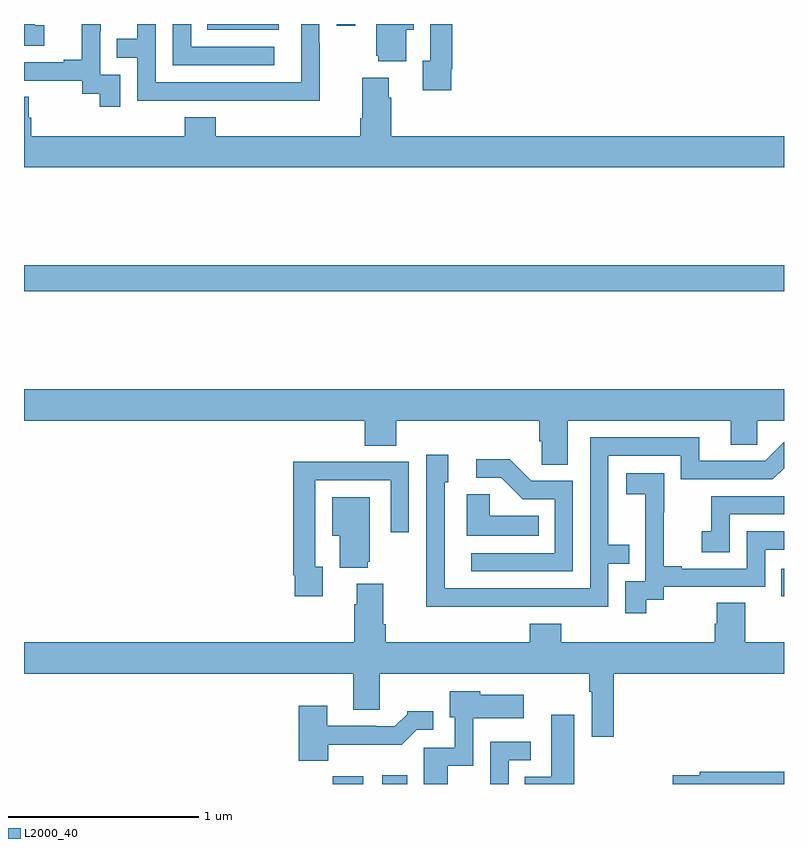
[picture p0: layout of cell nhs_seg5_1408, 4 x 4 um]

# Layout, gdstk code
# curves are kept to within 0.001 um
import gdstk
lib = gdstk.Library(unit=1e-6, precision=1e-09)
def R(c, l, rs):  # rectangles x0, y0, x1, y1
    for r in rs: c.add(gdstk.rectangle(r[:2], r[2:], *l))
def P(c, l, *ps):  # polygons
    for p in ps: c.add(gdstk.Polygon(p, *l))
L2000_40 = (2000, 40)

nhs_seg5_1408 = lib.new_cell('nhs_seg5_1408')
R(nhs_seg5_1408, L2000_40, [(196.624,902.799,196.786,902.839), (196.886,902.799,197.017,902.845), (198.985,903.786,199,903.933), (195,905.392,199,905.528), (195.964,906.77,196.342,906.799), (196.647,906.789,196.743,906.799)])
P(nhs_seg5_1408, L2000_40, [(197.011,906.77),(197.05,906.77),(197.05,906.799),(196.853,906.799),(196.853,906.633),(196.865,906.633),(196.865,906.602),(197.011,906.602)],
  [(195.106,906.793),(195.057,906.793),(195.057,906.799),(195,906.799),(195,906.684),(195.106,906.684)],
  [(195.507,906.531),(195.402,906.531),(195.402,906.761),(195.404,906.761),(195.404,906.799),(195.305,906.799),(195.305,906.61),(195.209,906.61),(195.209,906.597),(195,906.597),(195,906.501),(195.306,906.501),(195.306,906.433),(195.399,906.433),(195.399,906.363),(195.507,906.363)],
  [(196.557,906.701),(196.554,906.701),(196.554,906.799),(196.458,906.799),(196.458,906.492),(195.693,906.492),(195.693,906.799),(195.597,906.799),(195.597,906.722),(195.487,906.722),(195.487,906.621),(195.597,906.621),(195.597,906.396),(196.093,906.396),(196.093,906.395),(196.557,906.395)],
  [(197.248,906.562),(197.255,906.562),(197.255,906.799),(197.139,906.799),(197.139,906.606),(197.099,906.606),(197.099,906.45),(197.248,906.45)],
  [(196.318,906.678),(195.879,906.678),(195.879,906.799),(195.783,906.799),(195.783,906.582),(196.318,906.582)],
  [(199,906.208),(196.934,906.208),(196.934,906.41),(196.921,906.41),(196.921,906.517),(196.781,906.517),(196.781,906.304),(196.769,906.304),(196.769,906.208),(196.01,906.208),(196.01,906.307),(195.845,906.307),(195.845,906.208),(195.038,906.208),(195.038,906.306),(195.025,906.306),(195.025,906.416),(195,906.416),(195,906.044),(199,906.044)],
  [(197.863,904.712),(198.719,904.712),(198.719,904.585),(198.858,904.585),(198.858,904.712),(199,904.712),(199,904.876),(195,904.876),(195,904.712),(196.793,904.712),(196.793,904.579),(196.958,904.579),(196.958,904.712),(197.711,904.712),(197.711,904.603),(197.724,904.603),(197.724,904.48),(197.863,904.48)],
  [(197.579,903.732),(198.075,903.732),(198.075,903.957),(198.185,903.957),(198.185,904.058),(198.075,904.058),(198.075,904.527),(198.456,904.527),(198.456,904.404),(198.942,904.404),(199,904.462),(199,904.6),(198.9,904.5),(198.553,904.5),(198.553,904.623),(197.979,904.623),(197.979,903.828),(197.214,903.828),(197.214,904.386),(197.233,904.386),(197.233,904.531),(197.118,904.531),(197.118,904.037),(197.116,904.037),(197.116,903.731)],
  [(197.889,904.395),(197.67,904.395),(197.557,904.508),(197.379,904.508),(197.379,904.41),(197.513,904.41),(197.624,904.299),(197.793,904.299),(197.793,904.014),(197.355,904.014),(197.355,903.918),(197.889,903.918)],
  [(196.573,903.942),(196.533,903.942),(196.533,904.398),(196.929,904.398),(196.929,904.125),(197.025,904.125),(197.025,904.494),(196.709,904.494),(196.709,904.496),(196.417,904.496),(196.417,903.898),(196.425,903.898),(196.425,903.786),(196.573,903.786)],
  [(198.274,903.769),(198.366,903.769),(198.366,903.837),(198.9,903.837),(198.9,904.032),(199,904.032),(199,904.128),(198.804,904.128),(198.804,903.933),(198.463,903.933),(198.463,903.946),(198.368,903.946),(198.368,904.229),(198.369,904.229),(198.369,904.435),(198.171,904.435),(198.171,904.325),(198.269,904.325),(198.269,904.097),(198.27,904.097),(198.27,903.867),(198.165,903.867),(198.165,903.699),(198.274,903.699)],
  [(197.708,904.21),(197.451,904.21),(197.451,904.325),(197.33,904.325),(197.33,904.106),(197.708,904.106)],
  [(198.714,904.218),(199,904.218),(199,904.314),(198.616,904.314),(198.616,904.129),(198.567,904.129),(198.567,904.02),(198.714,904.02)],
  [(196.808,903.969),(196.819,903.969),(196.819,904.309),(196.622,904.309),(196.622,904.106),(196.661,904.106),(196.661,903.938),(196.808,903.938)],
  [(198.104,903.38),(199,903.38),(199,903.544),(198.795,903.544),(198.795,903.752),(198.647,903.752),(198.647,903.642),(198.635,903.642),(198.635,903.544),(197.828,903.544),(197.828,903.643),(197.663,903.643),(197.663,903.544),(196.904,903.544),(196.904,903.64),(196.891,903.64),(196.891,903.853),(196.751,903.853),(196.751,903.746),(196.739,903.746),(196.739,903.544),(195,903.544),(195,903.38),(196.733,903.38),(196.733,903.19),(196.873,903.19),(196.873,903.38),(197.976,903.38),(197.976,903.284),(197.988,903.284),(197.988,903.048),(198.104,903.048)],
  [(197.23,902.894),(197.364,902.894),(197.364,903.146),(197.629,903.146),(197.629,903.268),(197.4,903.268),(197.4,903.286),(197.24,903.286),(197.24,903.15),(197.268,903.15),(197.268,902.991),(197.105,902.991),(197.105,902.799),(197.23,902.799)],
  [(196.6,903.006),(196.989,903.006),(197.067,903.084),(197.155,903.084),(197.155,903.181),(197.016,903.181),(197.016,903.166),(196.952,903.102),(196.853,903.102),(196.853,903.105),(196.597,903.105),(196.597,903.211),(196.445,903.211),(196.445,902.921),(196.6,902.921)],
  [(197.896,903.163),(197.774,903.163),(197.774,902.836),(197.635,902.836),(197.635,902.799),(197.896,902.799)],
  [(197.55,902.925),(197.668,902.925),(197.668,903.021),(197.454,903.021),(197.454,902.799),(197.55,902.799)],
  [(199,902.864),(198.556,902.864),(198.556,902.844),(198.415,902.844),(198.415,902.799),(199,902.799)])

lib.write_gds('nhs_seg5_1408.gds')
